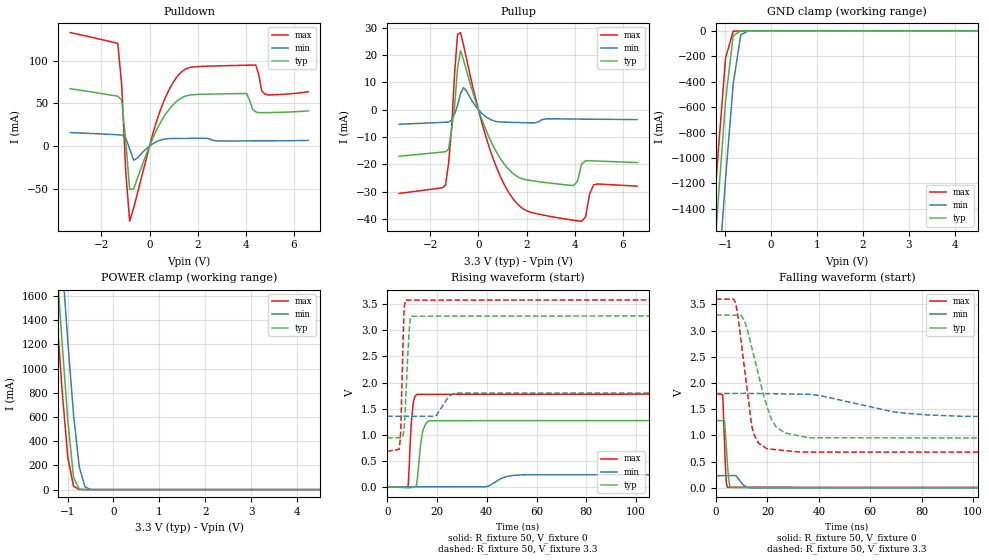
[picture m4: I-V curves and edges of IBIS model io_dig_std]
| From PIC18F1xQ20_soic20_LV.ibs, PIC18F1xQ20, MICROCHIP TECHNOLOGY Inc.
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[Model] io_dig_std
Model_type I/O
Vinl  =  0.8
Vinh  =  2
| Capacitance   typ   min   max
C_comp   2.464740719258078e-12   2.445583740154839e-12   2.628676855462747e-12
[Model Spec]
| Subparameter   typ   min   max
Vinl   1.5   0.81   1.65
Vinh   3.6   1.89   3.85
Vmeas   2.5   1.35   2.75
| Variables   typ   min   max
[GND Clamp Reference]   0   0   0
[POWER Clamp Reference]   3.3   1.8   3.6
[Pulldown Reference]   0   0   0
[Pullup Reference]   3.3   1.8   3.6
[Temperature Range]   25   125   -40
[Voltage Range]   3.3   1.8   3.6
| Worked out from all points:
|   slope of the pulldown table from 0 to 0.495 V, typ, clamps not added: 16.7 ohm
|   slope of the pullup table from 0 to 0.495 V, typ, clamps not added: 44.9 ohm
|   GND clamp passes 1 mA (typ) near -0.66 V on its own axis
|   POWER clamp passes 1 mA (typ) near -0.65 V on its own axis
|   falling waveform, R_fixture 50, V_fixture 0: 20-80 % time 1.07ns typ, 2.37ns min, 833ps max; typ from 1.28 V to 0 V
|   falling waveform, R_fixture 50, V_fixture 3.3: 20-80 % time 7.65ns typ, 25.4ns min, 4.47ns max; typ from 3.3 V to 0.938 V
|   rising waveform, R_fixture 50, V_fixture 0: 20-80 % time 1.79ns typ, 5.29ns min, 1.3ns max; typ from 0 V to 1.28 V
|   rising waveform, R_fixture 50, V_fixture 3.3: 20-80 % time 1.44ns typ, 3.77ns min, 962ps max; typ from 0.938 V to 3.3 V
[GND Clamp]
| Voltage   I(typ)   I(min)   I(max)
-3.3V     -12.47A    -12.75A    -12.31A
-1.324V   -2.22A     -2.823A    -1.847A
-1.159V   -1.362A    -1.991A    -978.2mA
-993.1mV  -550.8mA   -1.163A    -214.5mA
-827.6mV  -37.86mA   -421.1mA   -3.263mA
-662.1mV  -675uA     -31.67mA   -476.4uA
-496.6mV  -18.01uA   -398.5uA   -5.006uA
6.6V      0A         0A         0A
[POWER Clamp]
| Voltage   I(typ)   I(min)   I(max)
-3.3V     13.55A     13.94A     13.32A
-1.366V   2.597A     3.252A     2.198A
-1.241V   1.895A     2.566A     1.492A
-1.117V   1.209A     1.883A     816.6mA
-993.1mV  570.8mA    1.221A     263.8mA
-869mV    101.2mA    621.2mA    28.27mA
-744.8mV  2.919mA    187.3mA    1.345mA
-620.7mV  318.3uA    23.03mA    377.5uA
-496.6mV  24.48uA    978.2uA    41.85uA
6.6V      0A         0A         0A
[Pulldown]
| Voltage   I(typ)   I(min)   I(max)
-3.3V     67.33mA    15.82mA    133.2mA
-1.324V   58.5mA     13.26mA    120.6mA
-1.159V   53.81mA    13.02mA    72mA
-993.1mV  7.061mA    9.55mA     -28.96mA
-827.6mV  -50.96mA   -3.193mA   -88.37mA
-662.1mV  -50.28mA   -16.65mA   -72.87mA
455.2mV   27.65mA    6.927mA    42.53mA
1.366V    57.02mA    8.938mA    87.88mA
4.045V    61.43mA    5.983mA    94.86mA
4.417V    40.16mA    6.021mA    95.11mA
4.79V     39.2mA     6.067mA    61.25mA
6.6V      41.27mA    6.599mA    63.69mA
[Pullup]
| Voltage   I(typ)   I(min)   I(max)
-3.3V     -16.99mA   -5.281mA   -30.57mA
-1.366V   -15.33mA   -4.544mA   -27.42mA
-1.241V   -14.44mA   -4.488mA   -19.52mA
-1.117V   -7.117mA   -3.818mA   -6.793mA
-869mV    15.14mA    1.555mA    27.55mA
-744.8mV  21.61mA    5.889mA    28.2mA
455.2mV   -10.28mA   -3.353mA   -13.86mA
1.707V    -24.8mA    -4.685mA   -35.13mA
3.962V    -27.69mA   -3.387mA   -40.37mA
4.293V    -19.8mA    -3.412mA   -40.75mA
4.79V     -18.68mA   -3.449mA   -27.47mA
6.6V      -19.3mA    -3.603mA   -27.92mA
[Ramp]
dV/dt_r   0.768736/1.78816n  0.139526/5.2861n  1.07615/1.29881n
dV/dt_f   1.41711/7.65422n  0.268057/25.4308n  1.75136/4.46523n
R_load = 50
[Falling Waveform]
R_fixture = 50
V_fixture = 0
V_fixture_min = 0
V_fixture_max = 0
| Time   V(typ)   V(min)   V(max)
0s        1.281V     232.5mV    1.794V
2.54ns    1.284V     233.4mV    1.782V
3.235ns   1.285V     233.6mV    930.8mV
3.832ns   905mV      233.8mV    216.1mV
4.441ns   447.4mV    234mV      10.87mV
5.16ns    73.51mV    234.2mV    10.85mV
5.773ns   5.486mV    234.4mV    10.84mV
12.03ns   5.424mV    11.88mV    10.72mV
15.29ns   5.392mV    407.8uV    10.66mV
562.5ns   21.37pV    4.179nV    -70.54pV
[Falling Waveform]
R_fixture = 50
V_fixture = 3.3
V_fixture_min = 1.8
V_fixture_max = 3.6
| Time   V(typ)   V(min)   V(max)
0s        3.3V       1.8V       3.6V
7.594ns   3.294V     1.802V     3.527V
10.94ns   3.202V     1.803V     2.329V
14.52ns   2.555V     1.802V     1.043V
19.82ns   1.559V     1.797V     746.2mV
23.28ns   1.169V     1.795V     729mV
36.04ns   955.5mV    1.785V     682.6mV
68.73ns   954.4mV    1.452V     682.5mV
95.25ns   953.5mV    1.367V     682.4mV
562.5ns   938.2mV    1.353V     681.1mV
[Rising Waveform]
R_fixture = 50
V_fixture = 0
V_fixture_min = 0
V_fixture_max = 0
| Time   V(typ)   V(min)   V(max)
0s        -69.33pV   4.478nV    -78.83pV
8.275ns   -17.56mV   230.9uV    -8.564mV
9.685ns   -12.71mV   270.3uV    1.237V
10.5ns    -513.8uV   293.1uV    1.626V
11.86ns   67.21mV    331.1uV    1.774V
14.01ns   1.002V     390.9uV    1.774V
17.05ns   1.268V     475.7uV    1.774V
39.6ns    1.269V     1.105mV    1.775V
56.02ns   1.269V     231.3mV    1.776V
562.5ns   1.281V     232.5mV    1.794V
[Rising Waveform]
R_fixture = 50
V_fixture = 3.3
V_fixture_min = 1.8
V_fixture_max = 3.6
| Time   V(typ)   V(min)   V(max)
0s        938.2mV    1.353V     681.1mV
5.13ns    942.2mV    1.353V     850.1mV
5.551ns   942.6mV    1.353V     1.246V
6.709ns   1.092V     1.353V     3.285V
7.322ns   1.556V     1.353V     3.58V
8.802ns   2.978V     1.353V     3.581V
9.542ns   3.273V     1.353V     3.581V
19.45ns   3.273V     1.359V     3.581V
27.6ns    3.274V     1.797V     3.581V
562.5ns   3.3V       1.8V       3.6V
